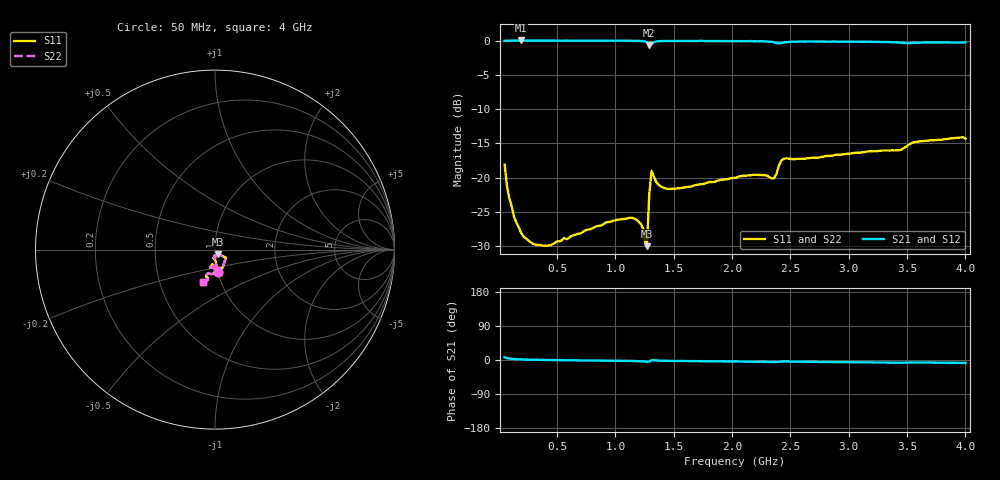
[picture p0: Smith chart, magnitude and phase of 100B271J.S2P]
!  American Technical Ceramics  Date:  3/13/98
!  One Norden Lane
!  Huntington Station,  NY.  11746-2102
!  Tel:  (516) 547-5700  Fax:  (516) 547-5748
!  Part Number  100b271j
!  Description: Porcelain, High Q, Low ESR
!  Application: Bypass, Coupling, Timing, Feedback
!  Tuning, Impedance Match, Blocking
# GHZ S DB R 50
! Freq  |S11|  S11 Ph  |S21|  S21 Ph  |S12|  S12 Ph  |S22|  S22 Ph
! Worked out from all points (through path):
!   201 points, 50 MHz to 4 GHz, reference 50 ohm
!   highest |S21| = 0.05 dB at 190 MHz (marker M1); lowest = -0.6 dB at 1.29 GHz (marker M2)
!   group delay of S21, straight-line fit = 6.29 ps
!   lowest |S11| = -30.0 dB at 1.27 GHz (marker M3), VSWR 1.07, Z = 51.8 - j2.67 ohm
!   |S11| at or under -10 dB: start of sweep to end of sweep
!   |S22| runs from -30.0 to -14.1 dB; largest |S21 - S12| = 0
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0.05  -18.10 -83.1  -0.01 7.1  -0.01 7.1  -18.10 -83.1
0.07  -21.17 -85.6  0.02 5.0  0.02 5.0  -21.17 -85.6
0.09  -23.02 -85.5  0.00 3.9  0.00 3.9  -23.02 -85.5
0.13  -25.67 -88.9  0.03 2.4  0.03 2.4  -25.67 -88.9
0.19  -28.00 -89.9  0.05 1.7  0.05 1.7  -28.00 -89.9
0.29  -29.61 -91.3  0.03 0.7  0.03 0.7  -29.61 -91.3
0.39  -29.94 -92.2  0.02 0.1  0.02 0.1  -29.94 -92.2
0.72  -27.94 -94.9  0.02 -1.2  0.02 -1.2  -27.94 -94.9
1.14  -25.86 -99.1  -0.01 -2.5  -0.01 -2.5  -25.86 -99.1
1.22  -26.81 -97.4  -0.04 -3.1  -0.04 -3.1  -26.81 -97.4
1.27  -30.00 -54.6  -0.20 -4.7  -0.20 -4.7  -30.00 -54.6
1.29  -22.42 -36.1  -0.60 -4.2  -0.60 -4.2  -22.42 -36.1
1.31  -19.00 -68.5  -0.51 -0.5  -0.51 -0.5  -19.00 -68.5
1.37  -21.02 -94.8  -0.06 -1.6  -0.06 -1.6  -21.02 -94.8
1.51  -21.61 -100.0  -0.02 -2.6  -0.02 -2.6  -21.61 -100.0
2.03  -20.02 -104.2  -0.06 -4.0  -0.06 -4.0  -20.02 -104.2
2.36  -20.07 -95.9  -0.22 -5.6  -0.22 -5.6  -20.07 -95.9
2.44  -17.27 -96.9  -0.26 -3.9  -0.26 -3.9  -17.27 -96.9
2.7  -17.07 -106.3  -0.10 -4.8  -0.10 -4.8  -17.07 -106.3
3.35  -16.04 -108.0  -0.20 -6.9  -0.20 -6.9  -16.04 -108.0
3.57  -14.79 -105.5  -0.30 -6.4  -0.30 -6.4  -14.79 -105.5
4  -14.30 -110.9  -0.23 -7.7  -0.23 -7.7  -14.30 -110.9
